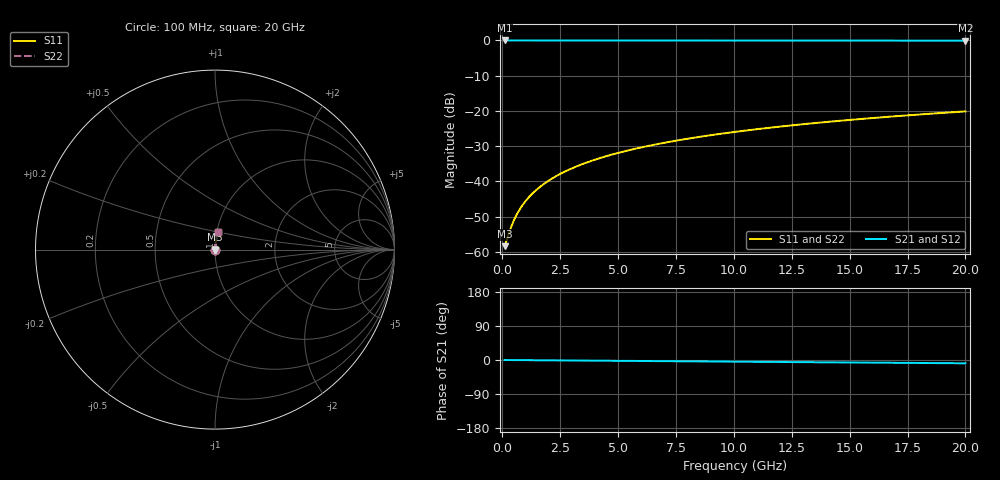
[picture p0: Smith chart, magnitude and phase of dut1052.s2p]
! Touchstone file exported from HFSS 2026.1.0
!  File:  C:/ffzhzh/LocalFiles/Ansys_Project_Files/temp_train_TSV_1052_1783189531_51560.aedt
!  Generated:  02:27:40 AM Jul  5, 2026
!  Design:  TSV
!  Project:  temp_train_TSV_1052_1783189531_51560
! Variables:
!  h_bsmrdl = 2um
!  h_ox = 20um
!  h_rdl = 5um
!  h_sub = 62.32um
!  h_tmrdl = 5um
!  h_tsv = 62.32um
!  h_via = 3um
!  l_bsmrdl = 300um
!  l_sub = 405.18um
!  l_tmrdl = 200um
!  m_sub = 200um
!  pitch = 39um
!  r_tsv = 2.59um
!  s_tmrdl = 10um
!  w_bsmrdl = 18um
!  w_sub = 500um
!  w_tmrdl = 12um
!  x_tsv_center1 = 206um
!  x_tsv_center2 = 524um
!  x_tsv_center3 = 736um
!  x_tsv_center4 = 1054um
!  x_tsv_center5 = 1266um
!  x_tsv_center6 = 1584um
# GHz S MA R 50.000000
! Terminal data exported
! Port[1] = TSV1_1_T1
! Port[2] = TSV1_1_T2
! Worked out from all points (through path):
!   200 points, 100 MHz to 20 GHz, reference 50 ohm
!   highest |S21| = -0.01 dB at 100 MHz (marker M1); lowest = -0.1 dB at 20 GHz (marker M2)
!   group delay of S21, straight-line fit = 1.21 ps
!   lowest |S11| = -58.4 dB at 100 MHz (marker M3), VSWR 1.00, Z = 50.1 + j0.0518 ohm
!   |S11| at or under -10 dB: start of sweep to end of sweep
!   |S22| runs from -58.4 to -20.1 dB; largest |S21 - S12| = 4.2e-15
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0.1  0.001208 25.4  0.9989 -0.0  0.9989 -0.0  0.001208 25.4
! Gamma 0 0 0 0
! Port Impedance 50 0 50 0
0.3  0.001901 54.4  0.9989 -0.1  0.9989 -0.1  0.001901 54.4
0.4  0.00234 61.5  0.9989 -0.2  0.9989 -0.2  0.00234 61.5
0.5  0.002803 66.3  0.9989 -0.2  0.9989 -0.2  0.002803 66.3
0.6  0.003278 69.7  0.9989 -0.3  0.9989 -0.3  0.003278 69.7
0.7  0.003762 72.2  0.9989 -0.3  0.9989 -0.3  0.003762 72.2
0.9  0.004742 75.7  0.9989 -0.4  0.9989 -0.4  0.004742 75.7
1.2  0.006233 78.8  0.9988 -0.5  0.9988 -0.5  0.006233 78.8
1.4  0.007234 80.1  0.9988 -0.6  0.9988 -0.6  0.007234 80.1
1.7  0.008741 81.5  0.9988 -0.8  0.9988 -0.8  0.008741 81.5
2.2  0.01126 82.9  0.9987 -1.0  0.9987 -1.0  0.01126 82.9
2.8  0.01429 83.8  0.9987 -1.2  0.9987 -1.2  0.01429 83.8
3.5  0.01782 84.3  0.9986 -1.6  0.9986 -1.6  0.01782 84.3
4.2  0.02135 84.5  0.9984 -1.9  0.9984 -1.9  0.02135 84.5
5  0.02537 84.6  0.9983 -2.2  0.9983 -2.2  0.02537 84.6
5.9  0.02988 84.5  0.998 -2.6  0.998 -2.6  0.02988 84.5
6.8  0.03438 84.3  0.9978 -3.0  0.9978 -3.0  0.03438 84.3
8.3  0.04182 83.9  0.9973 -3.7  0.9973 -3.7  0.04182 83.9
10.1  0.0507 83.3  0.9967 -4.4  0.9967 -4.4  0.0507 83.3
13.4  0.06681 82.1  0.9954 -5.9  0.9954 -5.9  0.06681 82.1
16.7  0.08274 80.8  0.9938 -7.3  0.9938 -7.3  0.08274 80.8
20  0.09852 79.5  0.9921 -8.7  0.9921 -8.7  0.09852 79.5
